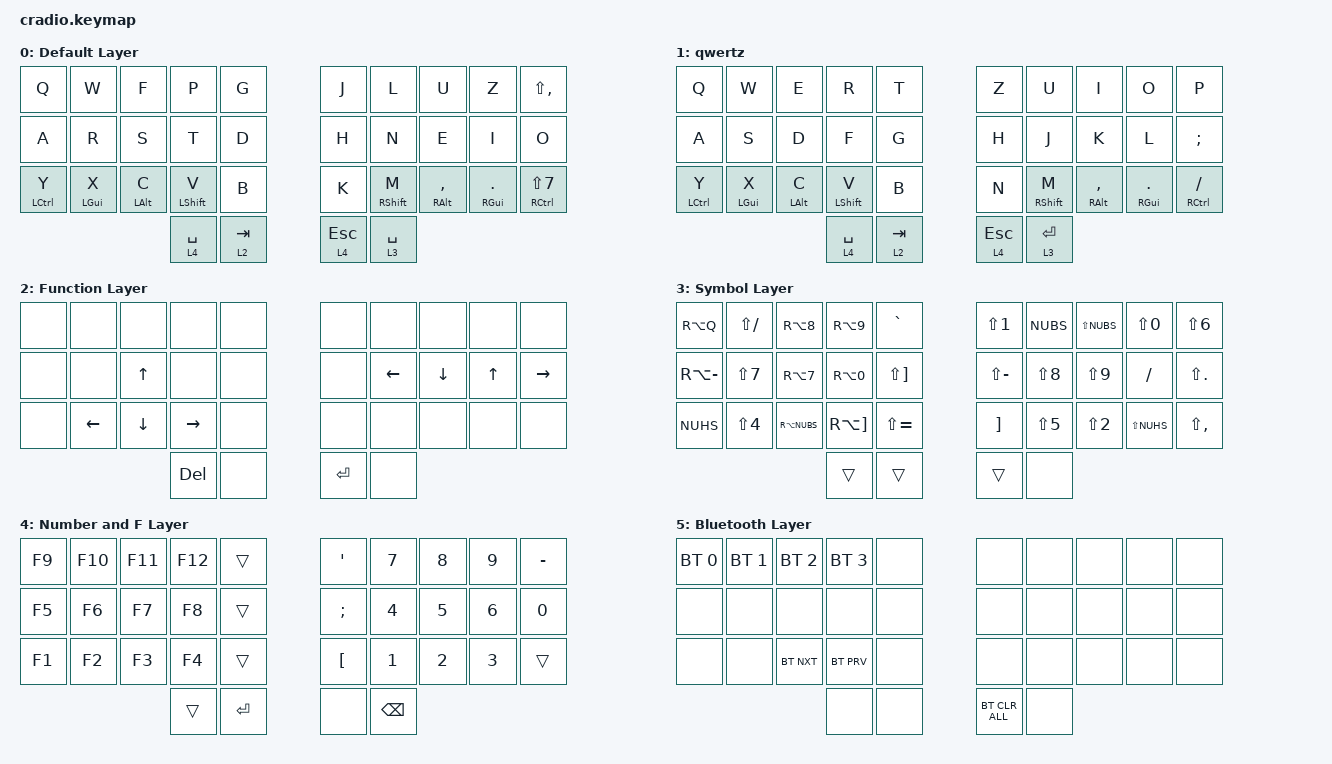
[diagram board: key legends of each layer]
// Copyright (c) 2022 The ZMK Contributors
// SPDX-License-Identifier: MIT

#include <behaviors.dtsi>
#include <dt-bindings/zmk/bt.h>
#include <dt-bindings/zmk/keys.h>

&mt {
    tapping-term-ms = <300>; // This is the value already set by default
    flavor = "tap-preferred";
};

/ {
    combos {
        compatible = "zmk,combos";

        // QWFP (stanga, top row) = toggle layer 2 (nav/arrows) — 50ms default timeout
        toggle_nav {
            bindings = <&tog 2>;
            key-positions = <0 1 2 3>;
        };

        // L U Z , (dreapta, top row, oglinda QWFP) = toggle qwertz
        toggle_qwertz {
            bindings = <&tog 1>;
            key-positions = <6 7 8 9>;
        };

        // 4 thumbs = toggle layer 5 (BT) — intrare deliberata, aproape imposibil accidental
        toggle_bt {
            bindings = <&tog 5>;
            key-positions = <30 31 32 33>;
            timeout-ms = <80>; // split 2+2 master/slave: latenta BLE mananca din fereastra de 50ms
        };
    };

    keymap {
        compatible = "zmk,keymap";

        default_layer {
            display-name = "Default Layer";
            bindings = <
&kp Q        &kp W       &kp F       &kp P        &kp G        &kp J      &kp L        &kp U           &kp Z         &kp LS(COMMA)
&kp A        &kp R       &kp S       &kp T        &kp D        &kp H      &kp N        &kp E           &kp I         &kp O
&mt LCTRL Y  &mt LGUI X  &mt LALT C  &mt LSHFT V  &kp B        &kp K      &mt RSHFT M  &mt RALT COMMA  &mt RGUI DOT  &mt RCTRL LS(N7)
                                     &lt 4 SPACE  &lt 2 TAB    &lt 4 ESC  &lt 3 SPACE
            >;
        };

        qwertz {
            display-name = "qwertz";
            bindings = <
&kp Q        &kp W       &kp E       &kp R        &kp T        &kp Z      &kp U        &kp I           &kp O         &kp P
&kp A        &kp S       &kp D       &kp F        &kp G        &kp H      &kp J        &kp K           &kp L         &kp SEMI
&mt LCTRL Y  &mt LGUI X  &mt LALT C  &mt LSHFT V  &kp B        &kp N      &mt RSHFT M  &mt RALT COMMA  &mt RGUI DOT  &mt RCTRL SLASH
                                     &lt 4 SPACE  &lt 2 TAB    &lt 4 ESC  &lt 3 RET
            >;
        };

        function_layer {
            display-name = "Function Layer";
            bindings = <
&none           &none     &none           &none         &none    &none   &none    &none    &none  &none
&none           &none     &kp UP_ARROW    &none         &none    &none   &kp LEFT  &kp DOWN  &kp UP  &kp RIGHT
&none           &kp LEFT  &kp DOWN_ARROW  &kp RIGHT     &none    &none   &none    &none    &none  &none
                                          &kp DEL       &none    &kp RET  &none
            >;
        };

        symbol_layer {
            display-name = "Symbol Layer";
            bindings = <
&kp RA(Q)      &kp LS(SLASH)  &kp RA(N8)    &kp RA(N9)    &kp GRAVE        &kp LS(N1)     &kp NUBS    &kp LS(NUBS)  &kp LS(N0)    &kp LS(N6)
&kp RA(MINUS)  &kp LS(N7)     &kp RA(N7)    &kp RA(N0)    &kp LS(RBKT)     &kp LS(MINUS)  &kp LS(N8)  &kp LS(N9)    &kp SLASH     &kp LS(DOT)
&kp NUHS       &kp LS(N4)     &kp RA(NUBS)  &kp RA(RBKT)  &kp LS(EQUAL)    &kp RBKT       &kp LS(N5)  &kp LS(N2)    &kp LS(NUHS)  &kp LS(COMMA)
                                            &trans        &trans           &trans         &none
            >;
        };

        nr_layer {
            display-name = "Number and F Layer";
            bindings = <
&kp F9  &kp F10  &kp F11  &kp F12  &trans     &kp SINGLE_QUOTE  &kp N7    &kp N8  &kp N9  &kp MINUS
&kp F5  &kp F6   &kp F7   &kp F8   &trans     &kp SEMI          &kp N4    &kp N5  &kp N6  &kp N0
&kp F1  &kp F2   &kp F3   &kp F4   &trans     &kp LEFT_BRACKET  &kp N1    &kp N2  &kp N3  &trans
                          &trans   &kp RET    &none             &kp BSPC
            >;
        };

        bt_layer {
            display-name = "Bluetooth Layer";
            bindings = <
&bt BT_SEL 0  &bt BT_SEL 1  &bt BT_SEL 2  &bt BT_SEL 3  &none    &none   &none    &none    &none  &none
&none         &none         &none         &none         &none    &none   &none    &none    &none  &none
&none         &none         &bt BT_NXT    &bt BT_PRV    &none    &none   &none    &none    &none  &none
                                            &none         &none     &bt BT_CLR_ALL  &none
            >;
        };
    };
};
